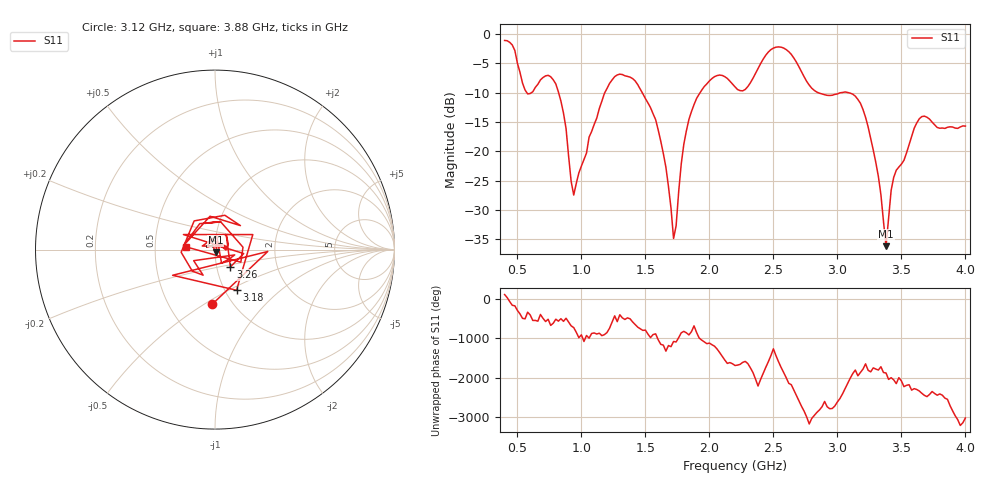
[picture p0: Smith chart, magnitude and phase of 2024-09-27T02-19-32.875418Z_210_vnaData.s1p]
!Created with skrf (http://scikit-rf.org).
# Hz S RI R 50.0
!freq ReS11 ImS11
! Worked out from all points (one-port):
!   181 points, 400 MHz to 4 GHz, reference 50 ohm
!   lowest |S11| = -36.1 dB at 3.38 GHz (marker M1), VSWR 1.03, Z = 50.3 - j1.53 ohm
!   |S11| at or under -10 dB: 821.5 MHz to 1.183 GHz (361.8 MHz wide, 36.1 % of centre); 1.475 GHz to 1.928 GHz (453.3 MHz wide, 26.6 % of centre); 3.082 GHz to end of sweep (the widest 3 of 5)
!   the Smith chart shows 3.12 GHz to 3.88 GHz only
!   S11 on the Smith chart (normalised r, x): 3.12 GHz: 0.80, -0.54; 3.18 GHz: 1.13, -0.55; 3.26 GHz: 1.16, -0.23; 3.88 GHz: 0.72, +0.02
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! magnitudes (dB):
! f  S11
! 400 MHz  -1.1
! 580 MHz  -10.2
! 740 MHz  -7.1
! 860 MHz  -13.5
! 940 MHz  -27.4
! 1.18 GHz  -10.1
! 1.3 GHz  -6.9
! 1.58 GHz  -14.6
! 1.66 GHz  -22.7
! 1.72 GHz  -34.8
! 1.76 GHz  -26.9
! 1.82 GHz  -16.5
! 1.9 GHz  -11.0
! 2.06 GHz  -7.1
! 2.2 GHz  -9.0
! 2.5 GHz  -2.4
! 2.66 GHz  -4.1
! 2.84 GHz  -9.9
! 3.1 GHz  -10.1
! 3.12 GHz  -10.3
! 3.18 GHz  -11.8
! 3.26 GHz  -17.8
! 3.38 GHz  -36.1
! 3.44 GHz  -24.4
! 3.56 GHz  -18.9
! 3.66 GHz  -14.1
! 3.88 GHz  -15.8
! 4 GHz  -15.7
